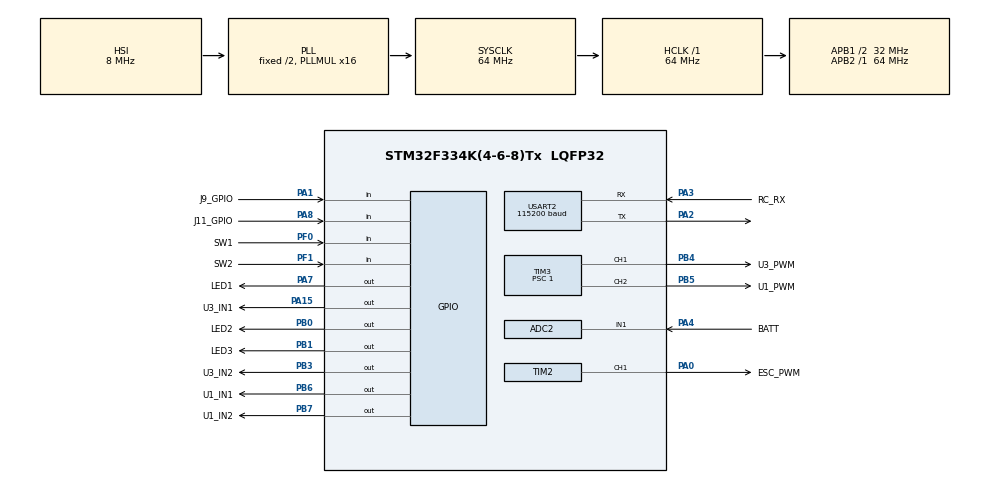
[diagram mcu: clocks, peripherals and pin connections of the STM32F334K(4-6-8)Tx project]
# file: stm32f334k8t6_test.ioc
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ADC2.Channel-0\#ChannelRegularConversion=ADC_CHANNEL_1
ADC2.NbrOfConversionFlag=1
ADC2.Offset-0\#ChannelRegularConversion=0
ADC2.OffsetNumber-0\#ChannelRegularConversion=ADC_OFFSET_NONE
ADC2.Rank-0\#ChannelRegularConversion=1
ADC2.SamplingTime-0\#ChannelRegularConversion=ADC_SAMPLETIME_1CYCLE_5
ADC2.SamplingTimeOPAMP-0\#ChannelRegularConversion=ADC_SAMPLETIME_4CYCLES_5
ADC2.SubFamily=STM32F334x8
Dma.Request0=USART2_RX
Dma.USART2_RX.0.Direction=DMA_PERIPH_TO_MEMORY
Dma.USART2_RX.0.Instance=DMA1_Channel6
Dma.USART2_RX.0.MemDataAlignment=DMA_MDATAALIGN_BYTE
Dma.USART2_RX.0.MemInc=DMA_MINC_ENABLE
Dma.USART2_RX.0.Mode=DMA_CIRCULAR
Dma.USART2_RX.0.PeriphDataAlignment=DMA_PDATAALIGN_BYTE
Dma.USART2_RX.0.PeriphInc=DMA_PINC_DISABLE
Dma.USART2_RX.0.Priority=DMA_PRIORITY_LOW
Mcu.Family=STM32F3
Mcu.Name=STM32F334K(4-6-8)Tx
Mcu.Package=LQFP32
NVIC.DMA1_Channel6_IRQn=true\:0\:0\:false\:false\:true\:false\:true
NVIC.PriorityGroup=NVIC_PRIORITYGROUP_4
NVIC.USART2_IRQn=true\:0\:0\:false\:false\:true\:true\:true
PA0.GPIO_Label=ESC_PWM
PA0.Signal=S_TIM2_CH1_ETR
PA1.GPIO_Label=J9_GPIO
PA1.Signal=GPIO_Input
PA13.Mode=Serial_Wire
PA13.Signal=SYS_JTMS-SWDIO
PA14.Mode=Serial_Wire
PA14.Signal=SYS_JTCK-SWCLK
PA15.GPIO_Label=U3_IN1
PA15.Signal=GPIO_Output
PA2.Mode=Asynchronous
PA2.Signal=USART2_TX
PA3.GPIO_Label=RC_RX
PA3.Mode=Asynchronous
PA3.Signal=USART2_RX
PA4.GPIO_Label=BATT
PA4.Mode=IN1-Single-Ended
PA4.Signal=ADC2_IN1
PA7.GPIO_Label=LED1
PA7.Signal=GPIO_Output
PA8.GPIO_Label=J11_GPIO
PA8.Signal=GPIO_Input
PB0.GPIO_Label=LED2
PB0.Signal=GPIO_Output
PB1.GPIO_Label=LED3
PB1.Signal=GPIO_Output
PB3.GPIO_Label=U3_IN2
PB3.Signal=GPIO_Output
PB4.GPIO_Label=U3_PWM
PB4.Signal=S_TIM3_CH1
PB5.GPIO_Label=U1_PWM
PB5.Signal=S_TIM3_CH2
PB6.GPIO_Label=U1_IN1
PB6.Signal=GPIO_Output
PB7.GPIO_Label=U1_IN2
PB7.Signal=GPIO_Output
PF0\ /\ OSC_IN.GPIO_Label=SW1
PF0\ /\ OSC_IN.Signal=GPIO_Input
PF1\ /\ OSC_OUT.GPIO_Label=SW2
PF1\ /\ OSC_OUT.Signal=GPIO_Input
ProjectManager.HeapSize=0x200
ProjectManager.StackSize=0x400
ProjectManager.TargetToolchain=STM32CubeIDE
RCC.AHBFreq_Value=64000000
RCC.APB1CLKDivider=RCC_HCLK_DIV2
RCC.APB1Freq_Value=32000000
RCC.APB1TimFreq_Value=64000000
RCC.APB2Freq_Value=64000000
RCC.APB2TimFreq_Value=64000000
RCC.CortexFreq_Value=64000000
RCC.HCLKFreq_Value=64000000
RCC.HSE_VALUE=8000000
RCC.HSI_VALUE=8000000
RCC.PLLMUL=RCC_PLL_MUL16
RCC.SYSCLKFreq_VALUE=64000000
RCC.SYSCLKSourceVirtual=RCC_SYSCLKSOURCE_PLLCLK
SH.S_TIM2_CH1_ETR.0=TIM2_CH1,PWM Generation1 CH1
SH.S_TIM3_CH1.0=TIM3_CH1,PWM Generation1 CH1
SH.S_TIM3_CH2.0=TIM3_CH2,PWM Generation2 CH2
TIM2.Channel-PWM\ Generation1\ CH1=TIM_CHANNEL_1
TIM2.Period=19999
TIM2.Prescaler=63
TIM3.Channel-PWM\ Generation1\ CH1=TIM_CHANNEL_1
TIM3.Channel-PWM\ Generation2\ CH2=TIM_CHANNEL_2
TIM3.Period=99
TIM3.Prescaler=1
USART2.BaudRate=115200
USART2.DMADisableonRxErrorParam=ADVFEATURE_DMA_DISABLEONRXERROR
USART2.OverrunDisableParam=ADVFEATURE_OVERRUN_DISABLE
USART2.VirtualMode-Asynchronous=VM_ASYNC
VP_TIM3_VS_ClockSourceINT.Mode=Internal
board=custom

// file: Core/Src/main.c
/* USER CODE BEGIN Header */
/**
  ******************************************************************************
  * @file           : main.c
  * @brief          : Main program body
  ******************************************************************************
  * @attention
  *
  * Copyright (c) 2022 STMicroelectronics.
  * All rights reserved.
  *
  * This software is licensed under terms that can be found in the LICENSE file
  * in the root directory of this software component.
  * If no LICENSE file comes with this software, it is provided AS-IS.
  *
  ******************************************************************************
  */
/* USER CODE END Header */
#include "main.h"

/* USER CODE BEGIN Includes */
#include "bizon.h"
#include "ssl482.h"
/* USER CODE END Includes */

ADC_HandleTypeDef hadc2;

TIM_HandleTypeDef htim2;
TIM_HandleTypeDef htim3;

UART_HandleTypeDef huart2;
DMA_HandleTypeDef hdma_usart2_rx;

void SystemClock_Config(void);
static void MX_GPIO_Init(void);
static void MX_ADC2_Init(void);
static void MX_DMA_Init(void);
static void MX_USART2_UART_Init(void);
static void MX_TIM3_Init(void);
static void MX_TIM2_Init(void);

/* USER CODE BEGIN 0 */
SSL482_StructTypeDef ssl;
/* USER CODE END 0 */

int main(void)
{

  /* MCU Configuration--------------------------------------------------------*/

  /* Reset of all peripherals, Initializes the Flash interface and the Systick. */
  HAL_Init();

  /* Configure the system clock */
  SystemClock_Config();

  /* Initialize all configured peripherals */
  MX_GPIO_Init();
  MX_ADC2_Init();
  MX_DMA_Init();
  MX_USART2_UART_Init();
  MX_TIM3_Init();
  MX_TIM2_Init();
  /* USER CODE BEGIN 2 */

	BizonPin led1;
	BizonPin led2;
	BizonPin led3;
	bizon_pin_init(&led1, LED1_GPIO_Port, LED1_Pin);
	bizon_pin_init(&led2, LED2_GPIO_Port, LED2_Pin);
	bizon_pin_init(&led3, LED3_GPIO_Port, LED3_Pin);

	for(int i = 0; i< 6;++i){
		bizon_pin_toggle(&led1);
		bizon_pin_toggle(&led2);
		bizon_pin_toggle(&led3);
		HAL_Delay(500);
	}

	Bizon bizon;
	bizon_init(&bizon, 1.0);
	SSL482_Init(&ssl, &huart2);
	HAL_TIM_PWM_Start(&htim3, TIM_CHANNEL_1);
	HAL_TIM_PWM_Start(&htim3, TIM_CHANNEL_2);
	HAL_TIM_PWM_Start(&htim2, TIM_CHANNEL_1);

  /* USER CODE END 2 */

  /* Infinite loop */
  /* USER CODE BEGIN WHILE */
  while(1) {

	if(SSL482_GetStatus(&ssl) == SSL482_OK){
		bizon_pin_set_high(&led1);
		bizon_pin_set_low(&led3);
		bizon_drive(&bizon, ssl.throttle, ssl.steering);

		if(ssl.aux1 == SSL482_SW1_PRESSED){
			bizon_pin_set_high(&led2);
			bizon_set_esc_speed(&bizon, 0.05);
		} else{
			bizon_pin_set_low(&led2);
			bizon_set_esc_speed(&bizon, 0.0);
		}
	} else {
		bizon_pin_toggle(&led3);
		bizon_pin_set_low(&led1);
		bizon_drive(&bizon, 0.0, 0.0);
	}

	HAL_Delay(100);
    /* USER CODE END WHILE */

  }
}

void SystemClock_Config(void)
{
  RCC_OscInitTypeDef RCC_OscInitStruct = {0};
  RCC_ClkInitTypeDef RCC_ClkInitStruct = {0};
  RCC_PeriphCLKInitTypeDef PeriphClkInit = {0};

  /** Initializes the RCC Oscillators according to the specified parameters
  * in the RCC_OscInitTypeDef structure.
  */
  RCC_OscInitStruct.OscillatorType = RCC_OSCILLATORTYPE_HSI;
  RCC_OscInitStruct.HSIState = RCC_HSI_ON;
  RCC_OscInitStruct.HSICalibrationValue = RCC_HSICALIBRATION_DEFAULT;
  RCC_OscInitStruct.PLL.PLLState = RCC_PLL_ON;
  RCC_OscInitStruct.PLL.PLLSource = RCC_PLLSOURCE_HSI;
  RCC_OscInitStruct.PLL.PLLMUL = RCC_PLL_MUL16;
  if (HAL_RCC_OscConfig(&RCC_OscInitStruct) != HAL_OK)
  {
    Error_Handler();
  }
  /** Initializes the CPU, AHB and APB buses clocks
  */
  RCC_ClkInitStruct.ClockType = RCC_CLOCKTYPE_HCLK|RCC_CLOCKTYPE_SYSCLK
                              |RCC_CLOCKTYPE_PCLK1|RCC_CLOCKTYPE_PCLK2;
  RCC_ClkInitStruct.SYSCLKSource = RCC_SYSCLKSOURCE_PLLCLK;
  RCC_ClkInitStruct.AHBCLKDivider = RCC_SYSCLK_DIV1;
  RCC_ClkInitStruct.APB1CLKDivider = RCC_HCLK_DIV2;
  RCC_ClkInitStruct.APB2CLKDivider = RCC_HCLK_DIV1;

  if (HAL_RCC_ClockConfig(&RCC_ClkInitStruct, FLASH_LATENCY_2) != HAL_OK)
  {
    Error_Handler();
  }
  PeriphClkInit.PeriphClockSelection = RCC_PERIPHCLK_ADC12;
  PeriphClkInit.Adc12ClockSelection = RCC_ADC12PLLCLK_DIV1;
  if (HAL_RCCEx_PeriphCLKConfig(&PeriphClkInit) != HAL_OK)
  {
    Error_Handler();
  }
}

static void MX_ADC2_Init(void)
{

  ADC_ChannelConfTypeDef sConfig = {0};

  /** Common config
  */
  hadc2.Instance = ADC2;
  hadc2.Init.ClockPrescaler = ADC_CLOCK_ASYNC_DIV1;
  hadc2.Init.Resolution = ADC_RESOLUTION_12B;
  hadc2.Init.ScanConvMode = ADC_SCAN_DISABLE;
  hadc2.Init.ContinuousConvMode = DISABLE;
  hadc2.Init.DiscontinuousConvMode = DISABLE;
  hadc2.Init.ExternalTrigConvEdge = ADC_EXTERNALTRIGCONVEDGE_NONE;
  hadc2.Init.ExternalTrigConv = ADC_SOFTWARE_START;
  hadc2.Init.DataAlign = ADC_DATAALIGN_RIGHT;
  hadc2.Init.NbrOfConversion = 1;
  hadc2.Init.DMAContinuousRequests = DISABLE;
  hadc2.Init.EOCSelection = ADC_EOC_SINGLE_CONV;
  hadc2.Init.LowPowerAutoWait = DISABLE;
  hadc2.Init.Overrun = ADC_OVR_DATA_OVERWRITTEN;
  if (HAL_ADC_Init(&hadc2) != HAL_OK)
  {
    Error_Handler();
  }
  /** Configure Regular Channel
  */
  sConfig.Channel = ADC_CHANNEL_1;
  sConfig.Rank = ADC_REGULAR_RANK_1;
  sConfig.SingleDiff = ADC_SINGLE_ENDED;
  sConfig.SamplingTime = ADC_SAMPLETIME_1CYCLE_5;
  sConfig.OffsetNumber = ADC_OFFSET_NONE;
  sConfig.Offset = 0;
  if (HAL_ADC_ConfigChannel(&hadc2, &sConfig) != HAL_OK)
  {
    Error_Handler();
  }

}

static void MX_TIM2_Init(void)
{

  TIM_MasterConfigTypeDef sMasterConfig = {0};
  TIM_OC_InitTypeDef sConfigOC = {0};

  htim2.Instance = TIM2;
  htim2.Init.Prescaler = 63;
  htim2.Init.CounterMode = TIM_COUNTERMODE_UP;
  htim2.Init.Period = 19999;
  htim2.Init.ClockDivision = TIM_CLOCKDIVISION_DIV1;
  htim2.Init.AutoReloadPreload = TIM_AUTORELOAD_PRELOAD_DISABLE;
  if (HAL_TIM_PWM_Init(&htim2) != HAL_OK)
  {
    Error_Handler();
  }
  sMasterConfig.MasterOutputTrigger = TIM_TRGO_RESET;
  sMasterConfig.MasterSlaveMode = TIM_MASTERSLAVEMODE_DISABLE;
  if (HAL_TIMEx_MasterConfigSynchronization(&htim2, &sMasterConfig) != HAL_OK)
  {
    Error_Handler();
  }
  sConfigOC.OCMode = TIM_OCMODE_PWM1;
  sConfigOC.Pulse = 0;
  sConfigOC.OCPolarity = TIM_OCPOLARITY_HIGH;
  sConfigOC.OCFastMode = TIM_OCFAST_DISABLE;
  if (HAL_TIM_PWM_ConfigChannel(&htim2, &sConfigOC, TIM_CHANNEL_1) != HAL_OK)
  {
    Error_Handler();
  }
  HAL_TIM_MspPostInit(&htim2);

}

static void MX_TIM3_Init(void)
{

  TIM_ClockConfigTypeDef sClockSourceConfig = {0};
  TIM_MasterConfigTypeDef sMasterConfig = {0};
  TIM_OC_InitTypeDef sConfigOC = {0};

  htim3.Instance = TIM3;
  htim3.Init.Prescaler = 1;
  htim3.Init.CounterMode = TIM_COUNTERMODE_UP;
  htim3.Init.Period = 99;
  htim3.Init.ClockDivision = TIM_CLOCKDIVISION_DIV1;
  htim3.Init.AutoReloadPreload = TIM_AUTORELOAD_PRELOAD_DISABLE;
  if (HAL_TIM_Base_Init(&htim3) != HAL_OK)
  {
    Error_Handler();
  }
  sClockSourceConfig.ClockSource = TIM_CLOCKSOURCE_INTERNAL;
  if (HAL_TIM_ConfigClockSource(&htim3, &sClockSourceConfig) != HAL_OK)
  {
    Error_Handler();
  }
  if (HAL_TIM_PWM_Init(&htim3) != HAL_OK)
  {
    Error_Handler();
  }
  sMasterConfig.MasterOutputTrigger = TIM_TRGO_RESET;
  sMasterConfig.MasterSlaveMode = TIM_MASTERSLAVEMODE_DISABLE;
  if (HAL_TIMEx_MasterConfigSynchronization(&htim3, &sMasterConfig) != HAL_OK)
  {
    Error_Handler();
  }
  sConfigOC.OCMode = TIM_OCMODE_PWM1;
  sConfigOC.Pulse = 0;
  sConfigOC.OCPolarity = TIM_OCPOLARITY_HIGH;
  sConfigOC.OCFastMode = TIM_OCFAST_DISABLE;
  if (HAL_TIM_PWM_ConfigChannel(&htim3, &sConfigOC, TIM_CHANNEL_1) != HAL_OK)
  {
    Error_Handler();
  }
  if (HAL_TIM_PWM_ConfigChannel(&htim3, &sConfigOC, TIM_CHANNEL_2) != HAL_OK)
  {
    Error_Handler();
  }
  HAL_TIM_MspPostInit(&htim3);

}

static void MX_USART2_UART_Init(void)
{

  huart2.Instance = USART2;
  huart2.Init.BaudRate = 115200;
  huart2.Init.WordLength = UART_WORDLENGTH_8B;
  huart2.Init.StopBits = UART_STOPBITS_1;
  huart2.Init.Parity = UART_PARITY_NONE;
  huart2.Init.Mode = UART_MODE_TX_RX;
  huart2.Init.HwFlowCtl = UART_HWCONTROL_NONE;
  huart2.Init.OverSampling = UART_OVERSAMPLING_16;
  huart2.Init.OneBitSampling = UART_ONE_BIT_SAMPLE_DISABLE;
  huart2.AdvancedInit.AdvFeatureInit = UART_ADVFEATURE_RXOVERRUNDISABLE_INIT|UART_ADVFEATURE_DMADISABLEONERROR_INIT;
  huart2.AdvancedInit.OverrunDisable = UART_ADVFEATURE_OVERRUN_DISABLE;
  huart2.AdvancedInit.DMADisableonRxError = UART_ADVFEATURE_DMA_DISABLEONRXERROR;
  if (HAL_UART_Init(&huart2) != HAL_OK)
  {
    Error_Handler();
  }

}

static void MX_DMA_Init(void)
{

  /* DMA controller clock enable */
  __HAL_RCC_DMA1_CLK_ENABLE();

  /* DMA interrupt init */
  /* DMA1_Channel6_IRQn interrupt configuration */
  HAL_NVIC_SetPriority(DMA1_Channel6_IRQn, 0, 0);
  HAL_NVIC_EnableIRQ(DMA1_Channel6_IRQn);

}

static void MX_GPIO_Init(void)
{
  GPIO_InitTypeDef GPIO_InitStruct = {0};

  /* GPIO Ports Clock Enable */
  __HAL_RCC_GPIOF_CLK_ENABLE();
  __HAL_RCC_GPIOA_CLK_ENABLE();
  __HAL_RCC_GPIOB_CLK_ENABLE();

  /*Configure GPIO pin Output Level */
  HAL_GPIO_WritePin(GPIOA, LED1_Pin|U3_IN1_Pin, GPIO_PIN_RESET);

  /*Configure GPIO pin Output Level */
  HAL_GPIO_WritePin(GPIOB, LED2_Pin|LED3_Pin|U3_IN2_Pin|U1_IN1_Pin
                          |U1_IN2_Pin, GPIO_PIN_RESET);

  /*Configure GPIO pins : SW1_Pin SW2_Pin */
  GPIO_InitStruct.Pin = SW1_Pin|SW2_Pin;
  GPIO_InitStruct.Mode = GPIO_MODE_INPUT;
  GPIO_InitStruct.Pull = GPIO_NOPULL;
  HAL_GPIO_Init(GPIOF, &GPIO_InitStruct);

  /*Configure GPIO pins : J9_GPIO_Pin J11_GPIO_Pin */
  GPIO_InitStruct.Pin = J9_GPIO_Pin|J11_GPIO_Pin;
  GPIO_InitStruct.Mode = GPIO_MODE_INPUT;
  GPIO_InitStruct.Pull = GPIO_NOPULL;
  HAL_GPIO_Init(GPIOA, &GPIO_InitStruct);

  /*Configure GPIO pins : LED1_Pin U3_IN1_Pin */
  GPIO_InitStruct.Pin = LED1_Pin|U3_IN1_Pin;
  GPIO_InitStruct.Mode = GPIO_MODE_OUTPUT_PP;
  GPIO_InitStruct.Pull = GPIO_NOPULL;
  GPIO_InitStruct.Speed = GPIO_SPEED_FREQ_LOW;
  HAL_GPIO_Init(GPIOA, &GPIO_InitStruct);

  /*Configure GPIO pins : LED2_Pin LED3_Pin U3_IN2_Pin U1_IN1_Pin
                           U1_IN2_Pin */
  GPIO_InitStruct.Pin = LED2_Pin|LED3_Pin|U3_IN2_Pin|U1_IN1_Pin
                          |U1_IN2_Pin;
  GPIO_InitStruct.Mode = GPIO_MODE_OUTPUT_PP;
  GPIO_InitStruct.Pull = GPIO_NOPULL;
  GPIO_InitStruct.Speed = GPIO_SPEED_FREQ_LOW;
  HAL_GPIO_Init(GPIOB, &GPIO_InitStruct);

}

/* USER CODE BEGIN 4 */
/**
 * @breif Overload HAL callback for UART.
 * @param huart Handle for HAL UART structure
 */
void HAL_UART_RxCpltCallback(UART_HandleTypeDef *huart) {
	if(huart->Instance==ssl.huart->Instance) {
		SSL482_OnRecive(&ssl);
	}
}

/* USER CODE END 4 */

void Error_Handler(void)
{
  __disable_irq();
  while (1)
  {
  }
}
